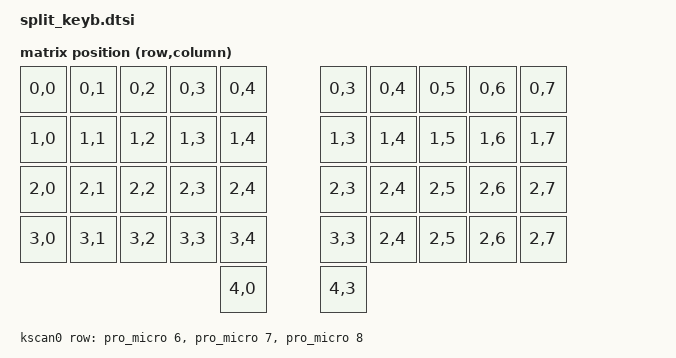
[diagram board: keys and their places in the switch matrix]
#include <dt-bindings/zmk/matrix_transform.h>

/ {
    default_transform: keymap_transform0 {
        compatible = "zmk,matrix-transform";
        columns = <10>;
        rows = <5>;
        map = <
        //  LKey 1 |LKey 2 |LKey 3 |LKey 4 |LKey 5      RKey 1 |RKey 2 |RKey 3 |RKey 4 |RKey 5
            RC(0,0) RC(0,1) RC(0,2) RC(0,3) RC(0,4)      RC(0,3) RC(0,4) RC(0,5) RC(0,6) RC(0,7)
        //  LKey 6 |LKey 7 |LKey 8 |LKey 9 |LKey 10     RKey 6 |RKey 7 |RKey 8 |RKey 9 |RKey 10
            RC(1,0) RC(1,1) RC(1,2) RC(1,3) RC(1,4)    RC(1,3) RC(1,4) RC(1,5) RC(1,6) RC(1,7)
        //  LKey 11 |LKey 12 |LKey 13 |LKey 14 |LKey 15   RKey 11 |RKey 12 |RKey 13 |RKey 14 |RKey 15
            RC(2,0) RC(2,1) RC(2,2) RC(2,3) RC(2,4)  RC(2,3) RC(2,4) RC(2,5) RC(2,6) RC(2,7)
        // LKey 16 |LKey 17| LKey 18| LKey 19| LKey 20  RKey 16 |RKey 17 |RKey 18 |RKey 19 |RKey 20
            RC(3,0) RC(3,1) RC(3,2) RC(3,3) RC(3,4)  RC(3,3) RC(2,4) RC(2,5) RC(2,6) RC(2,7)
        // LKey 21  RKey21
            RC(4,0) RC(4,3)
        >;
    };
};

/ {
    kscan0: kscan0 {
        compatible = "zmk,kscan-gpio-matrix";
        diode-direction = "col2row";
        wakeup-source;

        row-gpios
            = <&pro_micro 6 (GPIO_ACTIVE_HIGH | GPIO_PULL_DOWN)>
            , <&pro_micro 7 (GPIO_ACTIVE_HIGH | GPIO_PULL_DOWN)>
            , <&pro_micro 8 (GPIO_ACTIVE_HIGH | GPIO_PULL_DOWN)>
            ;

    };
};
